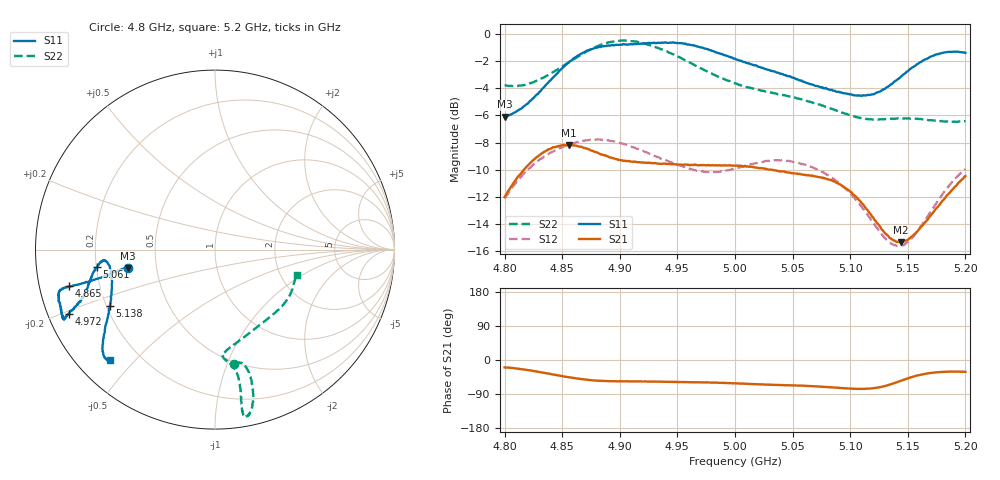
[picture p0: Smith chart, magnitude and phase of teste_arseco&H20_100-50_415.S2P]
! Network Analyzer HP8722D
! Hewlett-Packard
! Data name: Linha & Wilkinson
! Saver's name: Rodrigo Anjos
! Comments: Teste da utilização de aquisição
! continua pelo VNA HP8722D
! Time and date: 6/5/2025 16:01
!  Frequency  S11  S21  S12  S22
# HZ  S  MA R 50
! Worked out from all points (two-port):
!   401 points, 4.8 GHz to 5.2 GHz, reference 50 ohm
!   highest |S21| = -8.17 dB at 4.856 GHz (marker M1); lowest = -15.3 dB at 5.144 GHz (marker M2)
!   |S21| within 3 dB of the highest: 4.806 GHz to 5.093 GHz (286.4 MHz wide, 5.79 % of centre); 5.192076 GHz to end of sweep
!   lowest |S11| = -6.1 dB at 4.8 GHz (marker M3), VSWR 2.97, Z = 17 - j4.61 ohm
!   |S11| at or under -10 dB: nowhere
!   |S22| runs from -6.5 to -0.5 dB; largest |S21 - S12| = 0.62
!   S11 on the Smith chart (normalised r, x): 4.8 GHz: 0.34, -0.09; 4.865 GHz: 0.09, -0.12; 4.972 GHz: 0.06, -0.21; 5.061 GHz: 0.20, -0.07; 5.138 GHz: 0.21, -0.24; 5.2 GHz: 0.09, -0.43
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4.8e9  0.4958 -168.1  0.251 -19.5  0.2481 -140.6  0.647 -80.4
4.828e9  0.599 -167.0  0.3523 -30.4  0.3379 -144.6  0.6737 -75.4
4.856e9  0.7886 -165.7  0.3906 -45.6  0.392 -150.0  0.787 -74.6
4.865e9  0.838 -165.9  0.3846 -49.7  0.4015 -151.5  0.8315 -75.1
4.867e9  0.8475 -165.8  0.384 -50.6  0.4032 -151.8  0.8412 -75.3
4.88e9  0.8903 -165.5  0.3667 -54.4  0.4086 -153.9  0.8992 -76.6
4.899e9  0.9118 -162.6  0.3438 -56.4  0.3983 -156.5  0.9437 -79.1
4.934e9  0.9272 -156.3  0.3332 -57.4  0.351 -155.5  0.8848 -80.3
4.951e9  0.9249 -155.2  0.3307 -58.1  0.3289 -152.4  0.8242 -79.9
4.972e9  0.8901 -156.3  0.3293 -58.9  0.3121 -146.0  0.7414 -79.8
5e9  0.811 -158.9  0.3273 -61.6  0.32 -137.1  0.6578 -81.2
5.037e9  0.72 -165.7  0.3135 -65.8  0.3425 -134.2  0.6003 -85.7
5.061e9  0.6638 -171.8  0.3033 -68.3  0.3303 -136.1  0.5706 -84.0
5.067e9  0.6515 -172.8  0.3011 -68.9  0.3235 -136.6  0.5596 -82.7
5.087e9  0.6165 -174.4  0.2854 -73.0  0.2896 -138.4  0.5245 -74.9
5.103e9  0.5949 -171.4  0.2556 -76.0  0.2508 -138.6  0.4975 -65.3
5.117e9  0.5966 -164.8  0.2188 -75.5  0.2102 -135.0  0.4856 -55.3
5.134e9  0.6448 -154.1  0.1781 -65.3  0.1711 -120.8  0.4872 -43.3
5.138e9  0.6664 -151.7  0.1737 -61.3  0.1672 -115.7  0.4872 -40.9
5.144e9  0.6967 -148.8  0.1712 -54.7  0.166 -107.6  0.4883 -37.5
5.173e9  0.8345 -138.8  0.2233 -33.3  0.2326 -80.8  0.4808 -24.2
5.2e9  0.8514 -133.5  0.2999 -31.2  0.3185 -76.7  0.4774 -17.5
